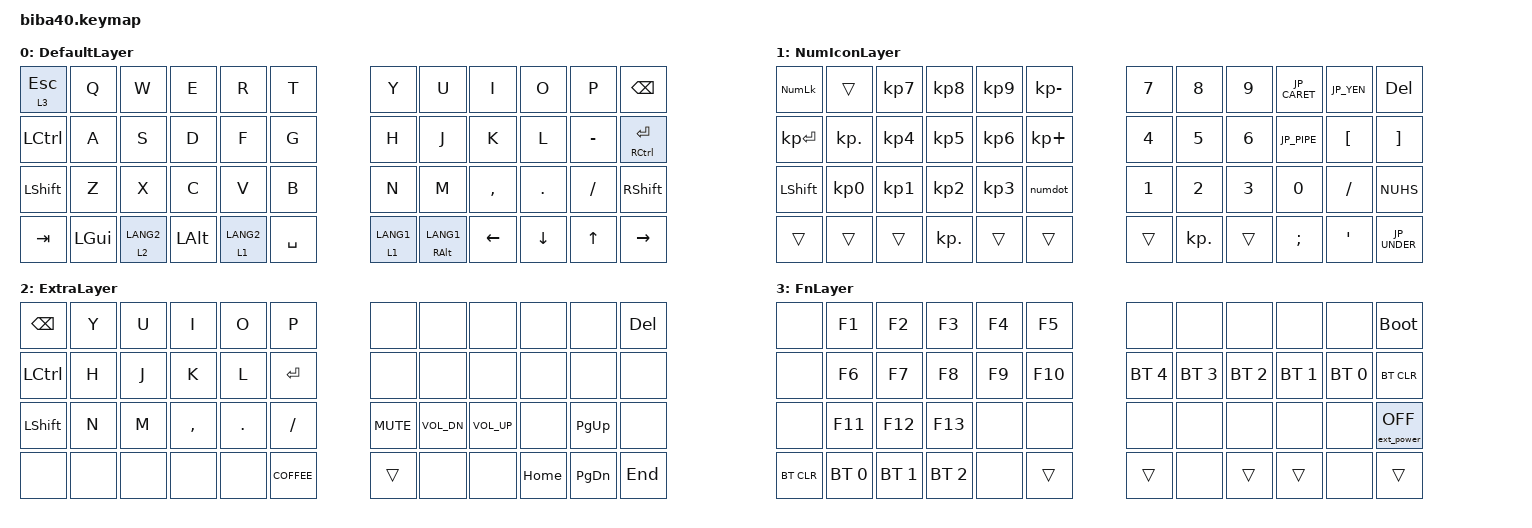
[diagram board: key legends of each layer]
/*
 * Copyright (c) 2020 The ZMK Contributors
 *
 * SPDX-License-Identifier: MIT
 */

 #include <behaviors.dtsi>
 #include <dt-bindings/zmk/keys.h>
 #include <dt-bindings/zmk/bt.h>
 #include <dt-bindings/zmk/rgb.h>
 #include <dt-bindings/zmk/ext_power.h>
 #include <dt-bindings/zmk/outputs.h>
 #include <dt-bindings/zmk/pointing.h>
 #include <behaviors/mouse_keys.dtsi>
 #include "unicode.h"
 #include "keycode_japanese.h"
 
 
#define DEF 0
#define LWR 1
#define RSE 2
#define ADJ 3

/* NOTE: At the time of the creation of this keymap, there are no specified codes for 'eisuu' and 'kana' input in ZMK.
However, 'LANG1' and 'LANG2' are fully-functioning candidates for 'kana' and 'eisuu' input respectively.
As such, those are in use within the default layer at this time.*/

&soft_off {
    hold-time-ms = <3000>; // Only turn off it the key is held for 3 seconds or longer.
};

/ {
    keymap {
        compatible = "zmk,keymap";

        DefaultLayer {
            bindings = <
&lt 3 ESCAPE      &kp Q         &kp W        &kp E         &kp R        &kp T        &kp Y        &kp U               &kp I           &kp O           &kp P         &kp BACKSPACE
&kp LEFT_CONTROL  &kp A         &kp S        &kp D         &kp F        &kp G        &kp H        &kp J               &kp K           &kp L           &kp MINUS     &mt RIGHT_CONTROL RETURN
&kp LEFT_SHIFT    &kp Z         &kp X        &kp C         &kp V        &kp B        &kp N        &kp M               &kp COMMA       &kp DOT         &kp SLASH     &kp RIGHT_SHIFT
&kp TAB           &kp LEFT_GUI  &lt 2 LANG2  &kp LEFT_ALT  &lt 1 LANG2  &kp SPACE    &lt 1 LANG1  &mt RIGHT_ALT LANG1 &kp LEFT_ARROW  &kp DOWN        &kp UP        &kp RIGHT
            >;
        };

        NumIconLayer {
            bindings = <
&kp KP_NUMLOCK  &trans           &kp KP_NUMBER_7  &kp KP_NUMBER_8  &kp KP_NUMBER_9  &kp KP_MINUS    &kp N7  &kp N8      &kp N9  &kp JP_CARET  &kp JP_YEN  &kp DEL
&kp KP_ENTER    &kp KP_DOT       &kp KP_NUMBER_4  &kp KP_NUMBER_5  &kp KP_NUMBER_6  &kp KP_PLUS     &kp N4  &kp N5      &kp N6  &kp JP_PIPE   &kp LBKT    &kp RBKT
&kp LEFT_SHIFT  &kp KP_NUMBER_0  &kp KP_NUMBER_1  &kp KP_NUMBER_2  &kp KP_NUMBER_3  &numdot         &kp N1  &kp N2      &kp N3  &kp N0        &kp SLASH   &kp NUHS
&trans          &trans           &trans           &kp KP_DOT       &trans           &trans          &trans  &kp KP_DOT  &trans  &kp SEMI      &kp SQT     &kp JP_UNDER
            >;
        };

        ExtraLayer {
            bindings = <
&kp BSPC   &kp Y  &kp U  &kp I      &kp O    &kp P           &none       &none         &none         &none     &none      &kp DEL
&kp LCTRL  &kp H  &kp J  &kp K      &kp L    &kp RET         &none       &none         &none         &none     &none      &none
&kp LSHFT  &kp N  &kp M  &kp COMMA  &kp DOT  &kp FSLH        &kp C_MUTE  &kp C_VOL_DN  &kp C_VOL_UP  &none     &kp PG_UP  &none
&none      &none  &none  &none      &none    &kp K_COFFEE    &trans      &none         &none         &kp HOME  &kp PG_DN  &kp END
            >;
        };

        FnLayer {
            bindings = <
&none       &kp F1        &kp F2        &kp F3        &kp F4  &kp F5     &none         &none         &none         &none         &none         &bootloader
&none       &kp F6        &kp F7        &kp F8        &kp F9  &kp F10    &bt BT_SEL 4  &bt BT_SEL 3  &bt BT_SEL 2  &bt BT_SEL 1  &bt BT_SEL 0  &bt BT_CLR
&none       &kp F11       &kp F12       &kp F13       &none   &none      &none         &none         &none         &none         &none         &ext_power EP_OFF
&bt BT_CLR  &bt BT_SEL 0  &bt BT_SEL 1  &bt BT_SEL 2  &none   &trans     &trans        &none         &trans        &trans        &none         &trans
            >;
        };
    };
};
